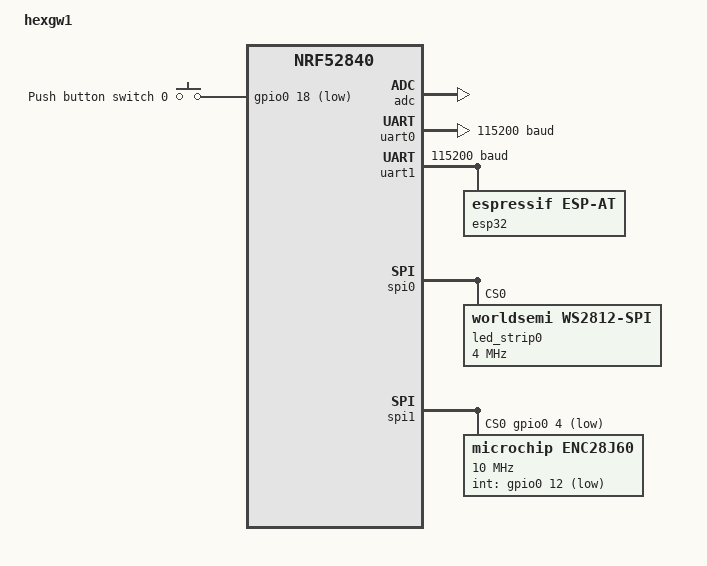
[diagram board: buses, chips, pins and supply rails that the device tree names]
/*
 * Copyright (c) 2017 Linaro Limited
 *
 * SPDX-License-Identifier: Apache-2.0
 */

/dts-v1/;
#include <nordic/nrf52840_qiaa.dtsi>
#include <dt-bindings/led/led.h>
#include "hexgw1-pinctrl.dtsi"

/ {
	model = "hexgw1";
	compatible = "nordic,nrf52840-dk-nrf52840";

	chosen {
		zephyr,console = &uart0;
		zephyr,shell-uart = &uart0;
		zephyr,uart-mcumgr = &uart0;
		zephyr,bt-mon-uart = &uart0;
		zephyr,bt-c2h-uart = &uart0;
		zephyr,sram = &sram0;
		zephyr,flash = &flash0;
		zephyr,code-partition = &slot0_partition;
		zephyr,entropy = &rng;
	};

	buttons {
		compatible = "gpio-keys";
		button0: button_0 {
			gpios = <&gpio0 18 (GPIO_PULL_UP | GPIO_ACTIVE_LOW)>;
			label = "Push button switch 0";
		};
	};

	aliases {
		led-strip = &led_strip0;
		sw0 = &button0;
	};
};

&adc {
	status = "okay";
};

&gpiote {
	status = "okay";
};

&gpio0 {
	status = "okay";
};

&gpio1 {
	status = "okay";
};

&uart0 {
	compatible = "nordic,nrf-uart";
	status = "okay";
	current-speed = <115200>;
	pinctrl-0 = <&uart0_default>;
	pinctrl-1 = <&uart0_sleep>;
	pinctrl-names = "default", "sleep";
};

&uart1 {
	//compatible = "nordic,nrf-uarte";
	status = "okay";
	current-speed = <115200>;
	pinctrl-0 = <&uart1_default>;
	pinctrl-1 = <&uart1_sleep>;
	pinctrl-names = "default", "sleep";

	esp32 {
		compatible = "espressif,esp-at";
		status = "okay";
	};
};

&spi0 {
	compatible = "nordic,nrf-spim";
	status = "okay";
	pinctrl-0 = <&spi0_default>;
	pinctrl-1 = <&spi0_sleep>;
	pinctrl-names = "default", "sleep";

	led_strip0: ws2812@0 {
		compatible = "worldsemi,ws2812-spi";
		reg = <0>;
		spi-max-frequency = <4000000>;
		chain-length = <2>;
		color-mapping = <LED_COLOR_ID_GREEN
				 LED_COLOR_ID_RED
				 LED_COLOR_ID_BLUE>;
		spi-one-frame = <0x70>;
		spi-zero-frame = <0x40>;
	};
};

&spi1 {
	compatible = "nordic,nrf-spi";
	status = "okay";
	pinctrl-0 = <&spi1_default>;
	pinctrl-1 = <&spi1_sleep>;
	pinctrl-names = "default", "sleep";
	cs-gpios = <&gpio0 4 GPIO_ACTIVE_LOW>;

	enc28j60: enc28j60@0 {
		compatible = "microchip,enc28j60";
		reg = <0x0>;
		local-mac-address = [00 00 00 01 02 03];
		/* Errata B7/1 specifies min 8Mhz, 20MHz max according to RM */
		spi-max-frequency = <10000000>;
		int-gpios = <&gpio0 12 GPIO_ACTIVE_LOW>;	/* INT */
	};
};

&flash0 {
	/*
	 * For more information, see:
	 * https://docs.zephyrproject.org/latest/guides/dts/legacy-macros.html#legacy-flash-partitions
	 */
	partitions {
		compatible = "fixed-partitions";
		#address-cells = <1>;
		#size-cells = <1>;

		boot_partition: partition@0 {
			label = "mcuboot";
			reg = <0x000000000 0x0000C000>;
		};
		slot0_partition: partition@c000 {
			label = "image-0";
			reg = <0x0000C000 0x00067000>;
		};
		slot1_partition: partition@73000 {
			label = "image-1";
			reg = <0x00073000 0x00067000>;
		};

		/*
		 * The flash starting at 0x000f8000 and ending at
		 * 0x000fffff is reserved for use by the application.
		 */

		/*
		 * Storage partition will be used by FCB/LittleFS/NVS
		 * if enabled.
		 */
		storage_partition: partition@f8000 {
			label = "storage";
			reg = <0x000f8000 0x00008000>;
		};
	};
};
